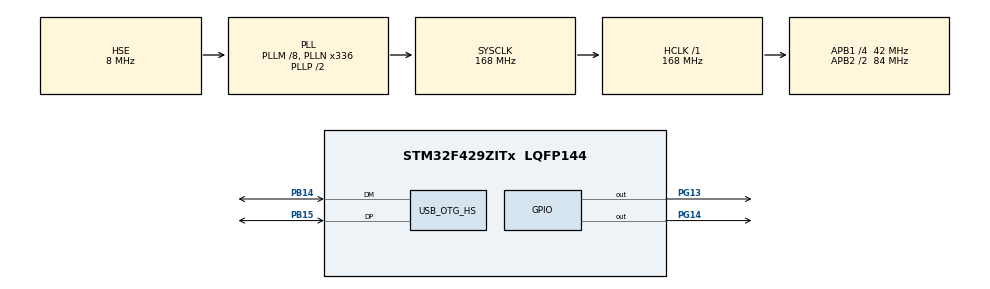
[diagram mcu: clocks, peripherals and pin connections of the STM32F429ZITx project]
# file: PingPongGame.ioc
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FREERTOS.Tasks01=Gyro_Task,0,256,Start_Gyro_Task,Default,NULL,Dynamic,NULL,NULL;USB_Task,0,128,Start_USB_Task,Default,NULL,Dynamic,NULL,NULL;LCD_Task,0,128,Start_LCD_Task,Default,NULL,Dynamic,NULL,NULL;Led_Task,0,128,Start_Led_Task,Default,NULL,Dynamic,NULL,NULL
Mcu.Family=STM32F4
Mcu.Name=STM32F429ZITx
Mcu.Package=LQFP144
NVIC.OTG_HS_IRQn=true\:5\:0\:false\:false\:true\:true\:true\:true\:true
NVIC.PriorityGroup=NVIC_PRIORITYGROUP_4
NVIC.TIM6_DAC_IRQn=true\:15\:0\:false\:false\:true\:false\:false\:true\:true
NVIC.TimeBase=TIM6_DAC_IRQn
NVIC.TimeBaseIP=TIM6
PA13.Mode=Serial_Wire
PA13.Signal=SYS_JTMS-SWDIO
PA14.Mode=Serial_Wire
PA14.Signal=SYS_JTCK-SWCLK
PB14.Mode=Device_Only_FS
PB14.Signal=USB_OTG_HS_DM
PB15.Mode=Device_Only_FS
PB15.Signal=USB_OTG_HS_DP
PG13.GPIO_Speed=GPIO_SPEED_FREQ_HIGH
PG13.Signal=GPIO_Output
PG14.GPIO_PuPd=GPIO_NOPULL
PG14.GPIO_Speed=GPIO_SPEED_FREQ_HIGH
PG14.Signal=GPIO_Output
PH0/OSC_IN.Mode=HSE-External-Oscillator
PH0/OSC_IN.Signal=RCC_OSC_IN
PH1/OSC_OUT.Mode=HSE-External-Oscillator
PH1/OSC_OUT.Signal=RCC_OSC_OUT
ProjectManager.HeapSize=0x2000
ProjectManager.StackSize=0x400
ProjectManager.TargetToolchain=STM32CubeIDE
RCC.48MHZClocksFreq_Value=48000000
RCC.AHBFreq_Value=168000000
RCC.APB1CLKDivider=RCC_HCLK_DIV4
RCC.APB1Freq_Value=42000000
RCC.APB1TimFreq_Value=84000000
RCC.APB2CLKDivider=RCC_HCLK_DIV2
RCC.APB2Freq_Value=84000000
RCC.APB2TimFreq_Value=168000000
RCC.CortexFreq_Value=168000000
RCC.HCLKFreq_Value=168000000
RCC.HSE_VALUE=8000000
RCC.HSI_VALUE=16000000
RCC.LSE_VALUE=32768
RCC.PLLM=8
RCC.PLLN=336
RCC.PLLQ=7
RCC.SYSCLKFreq_VALUE=168000000
RCC.SYSCLKSource=RCC_SYSCLKSOURCE_PLLCLK
RCC.VCOOutputFreq_Value=336000000
USB_DEVICE.CLASS_NAME_HS=CDC
USB_DEVICE.VirtualMode-CDC_HS=Cdc
USB_DEVICE.VirtualModeHS=Cdc_HS
USB_OTG_HS.VirtualMode-Device_Only_FS=Device_Only_FS
VP_FREERTOS_VS_CMSIS_V1.Mode=CMSIS_V1
VP_SYS_VS_tim6.Mode=TIM6
VP_USB_DEVICE_VS_USB_DEVICE_CDC_HS.Mode=CDC_HS
board=custom

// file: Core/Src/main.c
/* USER CODE BEGIN Header */
/**
  ******************************************************************************
  * @file           : main.c
  * @brief          : Main program body
  ******************************************************************************
  * @attention
  *
  * Copyright (c) 2023 STMicroelectronics.
  * All rights reserved.
  *
  * This software is licensed under terms that can be found in the LICENSE file
  * in the root directory of this software component.
  * If no LICENSE file comes with this software, it is provided AS-IS.
  *
  ******************************************************************************
  */
/* USER CODE END Header */
#include "main.h"
#include "cmsis_os.h"
#include "usb_device.h"

/* USER CODE BEGIN Includes */
#include <stdbool.h>
#include "usbd_cdc_if.h"
#include "stm32f429i_discovery_lcd.h"
#include "stm32f429i_discovery_gyroscope.h"
/* USER CODE END Includes */

/* USER CODE BEGIN PD */
#define GYRO_SENSITIVITY 0.00875
uint8_t RxBuff[APP_RX_DATA_SIZE];

typedef struct {
	float x;
	float y;
	float z;
} Gyro_xyz;

uint32_t start_time = 0;
uint32_t end_time = 0;
uint16_t score = 0;

osMailQId(myMQID);  // Mail queue ID
osMessageQId(message_q_id);
/* USER CODE END PD */

osThreadId Gyro_TaskHandle;
osThreadId USB_TaskHandle;
osThreadId LCD_TaskHandle;
osThreadId Led_TaskHandle;
/* USER CODE BEGIN PV */
uint8_t RxBuff[APP_RX_DATA_SIZE];
/* USER CODE END PV */

void SystemClock_Config(void);
static void MX_GPIO_Init(void);
void Start_Gyro_Task(void const * argument);
void Start_USB_Task(void const * argument);
void Start_LCD_Task(void const * argument);
void Start_Led_Task(void const * argument);

int main(void)
{

  /* MCU Configuration--------------------------------------------------------*/

  /* Reset of all peripherals, Initializes the Flash interface and the Systick. */
  HAL_Init();

  /* Configure the system clock */
  SystemClock_Config();

  /* Initialize all configured peripherals */
  MX_GPIO_Init();
  /* USER CODE BEGIN 2 */
  BSP_LCD_Init();
  BSP_LCD_LayerDefaultInit(1, SDRAM_DEVICE_ADDR);
  BSP_LCD_SelectLayer(1);
  BSP_LCD_DisplayOn();//turn on LCD
  BSP_LCD_Clear(LCD_COLOR_BLACK);
  BSP_LCD_SetBackColor(LCD_COLOR_BLACK);
  BSP_LCD_SetTextColor(LCD_COLOR_WHITE);//set text color

  BSP_GYRO_Init();
  /* USER CODE END 2 */

  /* USER CODE BEGIN RTOS_QUEUES */
  /* add queues, ... */
  osMailQDef(myMQ, 5, Gyro_xyz);  // Declare mail queue
  myMQID = osMailCreate(osMailQ(myMQ), NULL);

  osMessageQDef(message_q, 5, bool);
  message_q_id = osMessageCreate(osMessageQ(message_q), NULL);
  /* USER CODE END RTOS_QUEUES */

  /* Create the thread(s) */
  /* definition and creation of Gyro_Task */
  osThreadDef(Gyro_Task, Start_Gyro_Task, osPriorityNormal, 0, 256);
  Gyro_TaskHandle = osThreadCreate(osThread(Gyro_Task), NULL);

  /* definition and creation of USB_Task */
  osThreadDef(USB_Task, Start_USB_Task, osPriorityNormal, 0, 128);
  USB_TaskHandle = osThreadCreate(osThread(USB_Task), NULL);

  /* definition and creation of LCD_Task */
  osThreadDef(LCD_Task, Start_LCD_Task, osPriorityNormal, 0, 128);
  LCD_TaskHandle = osThreadCreate(osThread(LCD_Task), NULL);

  /* definition and creation of Led_Task */
  osThreadDef(Led_Task, Start_Led_Task, osPriorityNormal, 0, 128);
  Led_TaskHandle = osThreadCreate(osThread(Led_Task), NULL);

  /* Start scheduler */
  osKernelStart();

  /* We should never get here as control is now taken by the scheduler */
  /* Infinite loop */
  while (1)
  {

  }
}

void SystemClock_Config(void)
{
  RCC_OscInitTypeDef RCC_OscInitStruct = {0};
  RCC_ClkInitTypeDef RCC_ClkInitStruct = {0};

  /** Configure the main internal regulator output voltage
  */
  __HAL_RCC_PWR_CLK_ENABLE();
  __HAL_PWR_VOLTAGESCALING_CONFIG(PWR_REGULATOR_VOLTAGE_SCALE1);

  /** Initializes the RCC Oscillators according to the specified parameters
  * in the RCC_OscInitTypeDef structure.
  */
  RCC_OscInitStruct.OscillatorType = RCC_OSCILLATORTYPE_HSE;
  RCC_OscInitStruct.HSEState = RCC_HSE_ON;
  RCC_OscInitStruct.PLL.PLLState = RCC_PLL_ON;
  RCC_OscInitStruct.PLL.PLLSource = RCC_PLLSOURCE_HSE;
  RCC_OscInitStruct.PLL.PLLM = 8;
  RCC_OscInitStruct.PLL.PLLN = 336;
  RCC_OscInitStruct.PLL.PLLP = RCC_PLLP_DIV2;
  RCC_OscInitStruct.PLL.PLLQ = 7;
  if (HAL_RCC_OscConfig(&RCC_OscInitStruct) != HAL_OK)
  {
    Error_Handler();
  }

  /** Initializes the CPU, AHB and APB buses clocks
  */
  RCC_ClkInitStruct.ClockType = RCC_CLOCKTYPE_HCLK|RCC_CLOCKTYPE_SYSCLK
                              |RCC_CLOCKTYPE_PCLK1|RCC_CLOCKTYPE_PCLK2;
  RCC_ClkInitStruct.SYSCLKSource = RCC_SYSCLKSOURCE_PLLCLK;
  RCC_ClkInitStruct.AHBCLKDivider = RCC_SYSCLK_DIV1;
  RCC_ClkInitStruct.APB1CLKDivider = RCC_HCLK_DIV4;
  RCC_ClkInitStruct.APB2CLKDivider = RCC_HCLK_DIV2;

  if (HAL_RCC_ClockConfig(&RCC_ClkInitStruct, FLASH_LATENCY_5) != HAL_OK)
  {
    Error_Handler();
  }
}

static void MX_GPIO_Init(void)
{
  GPIO_InitTypeDef GPIO_InitStruct = {0};

  /* GPIO Ports Clock Enable */
  __HAL_RCC_GPIOH_CLK_ENABLE();
  __HAL_RCC_GPIOB_CLK_ENABLE();
  __HAL_RCC_GPIOA_CLK_ENABLE();
  __HAL_RCC_GPIOG_CLK_ENABLE();

  /*Configure GPIO pin Output Level */
  HAL_GPIO_WritePin(GPIOG, GPIO_PIN_13|GPIO_PIN_14, GPIO_PIN_RESET);

  /*Configure GPIO pins : PG13 PG14 */
  GPIO_InitStruct.Pin = GPIO_PIN_13|GPIO_PIN_14;
  GPIO_InitStruct.Mode = GPIO_MODE_OUTPUT_PP;
  GPIO_InitStruct.Pull = GPIO_NOPULL;
  GPIO_InitStruct.Speed = GPIO_SPEED_FREQ_HIGH;
  HAL_GPIO_Init(GPIOG, &GPIO_InitStruct);

}

/* USER CODE BEGIN 4 */
void calcGyroAngle(Gyro_xyz *xyz) {
	float gyro_data[3] = {0};
	uint8_t dt = 50;

	start_time = HAL_GetTick();
	BSP_GYRO_GetXYZ(gyro_data);
	do {
			end_time = HAL_GetTick();
			HAL_Delay(2);
	}while(end_time - start_time < dt);

	xyz->x += gyro_data[0] * GYRO_SENSITIVITY * (dt / 1000.0);
	xyz->y += gyro_data[1] * GYRO_SENSITIVITY * (dt / 1000.0);
	xyz->z += gyro_data[2] * GYRO_SENSITIVITY * (dt / 1000.0);

}

void init_Gyro_data(Gyro_xyz *xyz){
	xyz->x = 0;
	xyz->y = 0;
	xyz->z = 0;
}

void assign_gyro_data(Gyro_xyz *src, Gyro_xyz *des){
	des->x = src->x;
	des->y = src->y;
	des->z = src->z;
}

/* USER CODE END 4 */

void Start_Gyro_Task(void const * argument)
{
  /* init code for USB_DEVICE */
  MX_USB_DEVICE_Init();
  /* USER CODE BEGIN 5 */
  Gyro_xyz gyro_data;
  Gyro_xyz low_gyro_data;
  Gyro_xyz high_gyro_data;
  bool signLCD = 0;
  init_Gyro_data(&gyro_data);
  init_Gyro_data(&low_gyro_data);
  init_Gyro_data(&high_gyro_data);
  /* Infinite loop */
  for(;;)
  {
	calcGyroAngle(&gyro_data);
	if (gyro_data.x < -4){ //ha bong
		//get lowest gyro_data.x
		do
		{
			assign_gyro_data(&gyro_data, &low_gyro_data);
			calcGyroAngle(&gyro_data);
		}while(gyro_data.x <= low_gyro_data.x);
		score++;

		osSignalSet(Led_TaskHandle, 0x1);
		signLCD = 0;
		osMessagePut(message_q_id, signLCD, osWaitForever);

		while (gyro_data.x < 4)
		{
			calcGyroAngle(&gyro_data);
		}

		do
		{
			assign_gyro_data(&gyro_data, &high_gyro_data);
			calcGyroAngle(&gyro_data);
		}while(gyro_data.x >= high_gyro_data.x);

		//send data to message queue
		signLCD = 1;
		osMessagePut(message_q_id, signLCD, osWaitForever);

		//send data to virtual comport task
		Gyro_xyz *gyro_tx;
		gyro_tx = (Gyro_xyz *)osMailAlloc(myMQID, osWaitForever);
		gyro_tx->x = gyro_data.x;
		gyro_tx->y = gyro_data.y;
		gyro_tx->z = gyro_data.z;
		osMailPut(myMQID, gyro_tx);
	}
  }
  /* USER CODE END 5 */
}

void Start_USB_Task(void const * argument)
{
  /* USER CODE BEGIN Start_USB_Task */
  /* Infinite loop */
  char str[50];
  for(;;)
  {
	  memset(str, 0, sizeof(str) / sizeof(char));
	  osEvent event = osMailGet(myMQID, osWaitForever);
	  Gyro_xyz *received = (Gyro_xyz *)event.value.p;

	  sprintf(str, "x: %d\ny: %d\nz: %d\n--------\n", (int16_t)(received->x), (int16_t)(received->y), (int16_t)(received->z));
	  CDC_Transmit_HS(str, strlen(str));

	  osMailFree(myMQID, received);

    osDelay(1);
  }
  /* USER CODE END Start_USB_Task */
}

void Start_LCD_Task(void const * argument)
{
  /* USER CODE BEGIN Start_LCD_Task */
  char sc[20] = {0};
  sprintf(sc, "score: %d", score);
  BSP_LCD_DisplayStringAtLine(0, sc);
  BSP_LCD_DrawCircle((uint32_t)BSP_LCD_GetXSize()/2, (uint32_t)BSP_LCD_GetYSize() / 2, 80);
  /* Infinite loop */
  for(;;)
  {
	  osEvent event = osMessageGet(message_q_id, osWaitForever);

	  memset(sc, 0, 20);
	  BSP_LCD_Clear(LCD_COLOR_BLACK);
	  BSP_LCD_SetBackColor(LCD_COLOR_BLACK);
	  BSP_LCD_SetTextColor(LCD_COLOR_WHITE);
	  sprintf(sc, "score: %d", score);
	  BSP_LCD_DisplayStringAtLine(0, sc);

	  if (event.value.p == 0)
	  {
		  BSP_LCD_DrawCircle((uint32_t)BSP_LCD_GetXSize()/2, (uint32_t)BSP_LCD_GetYSize() / 2, 80);
	  }
	  else BSP_LCD_DrawCircle((uint32_t)BSP_LCD_GetXSize()/2, (uint32_t)BSP_LCD_GetYSize() / 2, 50);
    osDelay(1);
  }
  /* USER CODE END Start_LCD_Task */
}

void Start_Led_Task(void const * argument)
{
  /* USER CODE BEGIN Start_Led_Task */
  /* Infinite loop */
  for(;;)
  {
	osSignalWait(0x1, osWaitForever);
	HAL_GPIO_WritePin(GPIOG, GPIO_PIN_13, GPIO_PIN_SET);
	osDelay(500);
	HAL_GPIO_WritePin(GPIOG, GPIO_PIN_13, GPIO_PIN_RESET);
    osDelay(1);
  }
  /* USER CODE END Start_Led_Task */
}

void HAL_TIM_PeriodElapsedCallback(TIM_HandleTypeDef *htim)
{
  if (htim->Instance == TIM6) {
    HAL_IncTick();
  }
}

void Error_Handler(void)
{
  __disable_irq();
  while (1)
  {
  }
}
